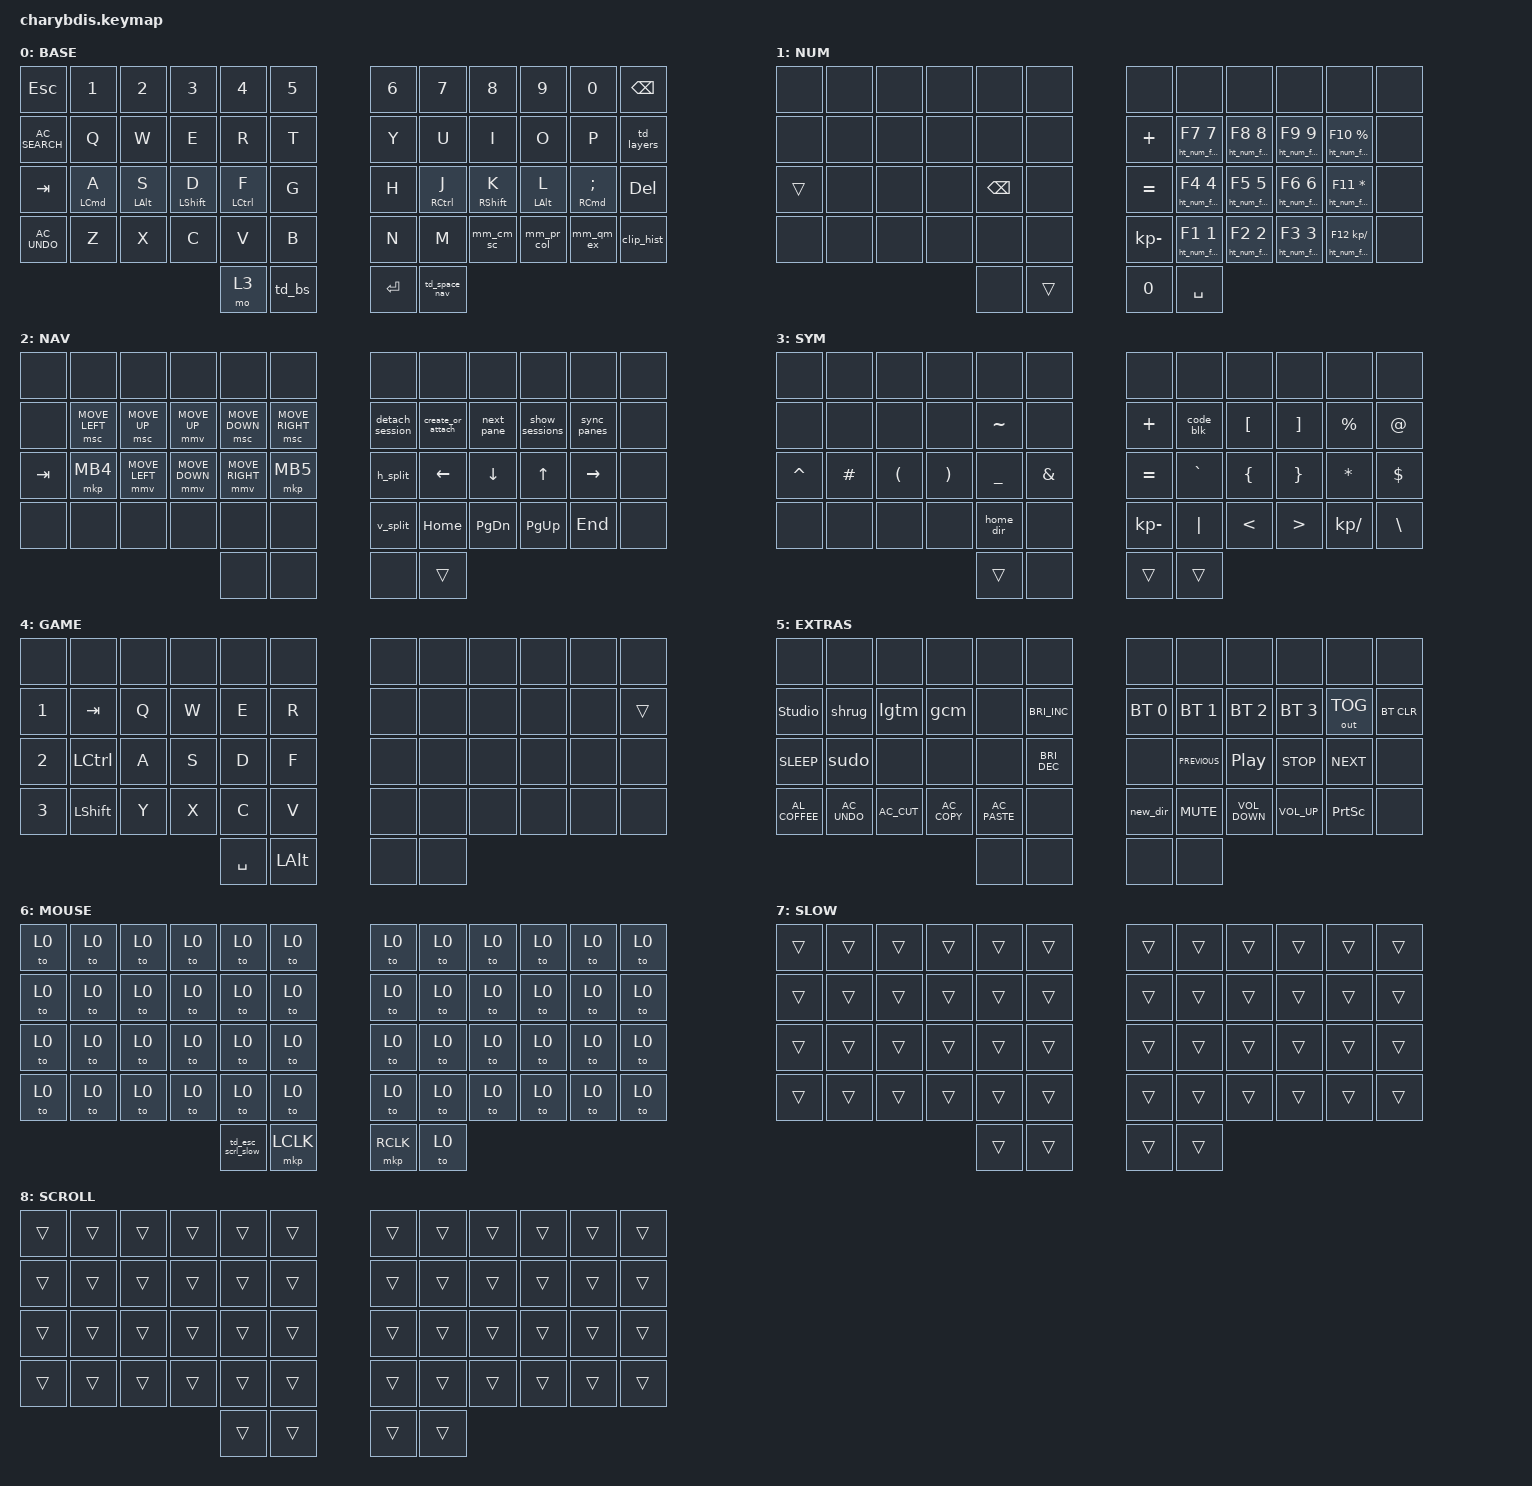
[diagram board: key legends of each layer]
/* upstream bindings and behaviors */
#include <behaviors.dtsi>
#include <dt-bindings/zmk/bt.h>
#include <dt-bindings/zmk/keys.h>
#include <dt-bindings/zmk/mouse.h>
#include <dt-bindings/zmk/outputs.h>
#include <behaviors/mouse_keys.dtsi>
#include <dt-bindings/zmk/ext_power.h>

/* local overlays */
#include "macros.dtsi"
#include "behaviors.dtsi"
#include "combos.dtsi"

/ {
/* --- KEYMAP CONFIG --- */"":53tregpoppp111qu
// ╭──────┬──────┬──────┬──────┬──────┬──────╮  ╭──────┬──────┬──────┬──────┬──────┬──────╮
//    00     01     02     03    04      05        06     07     08     09     10     11
// ├──────┼──────┼──────┼──────┼──────┼──────┤  ├──────┼──────┼──────┼──────┼──────┼──────┤
//    12     13     14     15    16      17        18     19     20     21     22     23
// ├──────┼──────┼──────┼──────┼──────┼──────┤  ├──────┼──────┼──────┼──────┼──────┼──────┤
//    24     25     26     27    28      29        30     31     32     33     34     35
// ╰──────┴──────┴──────┼──────┼──────┼──────┤  ├──────┼──────┼──────┴──────┴──────┴──────╯
//                         36     37     38        39     40
//                      ╰──────┴──────┴──────╯  ╰──────┴──────╯
// #define BASE    0
// #define NUM     1
// #define NAV     2
// #define SYM     3
// #define GAME    4
// #define EXTRAS  5
// #define MOUSE   6
// #define SLOW    7
// #define SCROLL  8

    keymap {
        compatible = "zmk,keymap";
        BASE {
            bindings = <
&kp ESC   &kp N1 &kp N2 &kp N3   &kp N4   &kp N5                     &kp N6 &kp N7   &kp N8    &kp N9  &kp N0   &kp BSPC
// ╭───────────────┬────────────────┬────────────────┬─────────────────┬─────────────────┬──────╮  ╭──────┬──────────────────┬──────────────────┬─────────────────┬────────────────────────┬───────────╮
    &kp C_AC_SEARCH &kp Q            &kp W            &kp E             &kp R             &kp T     &kp Y  &kp U              &kp I              &kp O             &kp P                     &td_layers
// ├───────────────┼────────────────┼────────────────┼─────────────────┼─────────────────┼──────┤  ├──────┼──────────────────┼──────────────────┼─────────────────┼────────────────────────┼───────────┤
    &kp TAB         &ht_left LCMD A  &ht_left LALT S  &ht_left LSHFT D  &ht_left LCTRL F  &kp G     &kp H  &ht_right RCTRL J  &ht_right RSHFT K  &ht_right LALT L  &ht_right RCMD SEMICOLON  &kp DEL
// ├───────────────┼────────────────┼────────────────┼─────────────────┼─────────────────┼──────┤  ├──────┼──────────────────┼──────────────────┼─────────────────┼────────────────────────┼───────────┤
    &kp C_AC_UNDO   &kp Z            &kp X            &kp C             &kp V             &kp B     &kp N  &kp M              &mm_cm_sc          &mm_pr_col        &mm_qm_ex                 &clip_hist
// ╰───────────────┴────────────────┴────────────────┼─────────────────┼─────────────────┼──────┤  ├──────┼──────────────────┼──────────────────┴─────────────────┴────────────────────────┴───────────╯
                                                                                    &mo 3  &td_bs     &kp ENTER  &td_space_nav
                                                            // ╰──────────────────┴──────┴──────╯  ╰──────────┴──────────────╯
            >;
        };

        NUM {
            bindings = <
            &none   &none  &none  &none  &none  &none  &none  &none  &none  &none  &none  &none
&none   &none  &none  &none  &none          &none            &kp PLUS      &ht_num_func F7 N7  &ht_num_func F8 N8  &ht_num_func F9 N9  &ht_num_func F10 PRCNT     &none
&trans   &none  &none  &none  &kp BACKSPACE  &none            &kp EQUAL     &ht_num_func F4 N4  &ht_num_func F5 N5  &ht_num_func F6 N6  &ht_num_func F11 ASTRK     &none
&none    &none  &none  &none  &none          &none            &kp KP_MINUS  &ht_num_func F1 N1  &ht_num_func F2 N2  &ht_num_func F3 N3  &ht_num_func F12 KP_SLASH  &none
                              &none          &trans           &kp N0     &kp SPACE
            >;
        };

        NAV {
            bindings = <
            &none   &none  &none  &none  &none  &none  &none  &none  &none  &none  &none  &none
&none    &msc MOVE_LEFT  &msc MOVE_UP    &mmv MOVE_UP    &msc MOVE_DOWN   &msc MOVE_RIGHT     &detach_session  &create_or_attach  &next_pane   &show_sessions  &sync_panes       &none
&kp TAB  &mkp MB4        &mmv MOVE_LEFT  &mmv MOVE_DOWN  &mmv MOVE_RIGHT  &mkp MB5            &h_split         &kp LEFT_ARROW     &kp DOWN     &kp UP          &kp RIGHT_ARROW   &none
&none    &none           &none           &none           &none            &none               &v_split         &kp HOME           &kp PG_DN    &kp PG_UP       &kp END           &none
                                                                          &none   &none           &none   &trans
            >;
        };

        SYM {
            bindings = <
            &none   &none  &none  &none  &none  &none  &none  &none  &none  &none  &none  &none
&none      &none     &none     &none     &kp TILDE   &none         &kp PLUS     &code_blk  &kp LBKT  &kp RBKT  &kp PRCNT    &kp AT
&kp CARET  &kp HASH  &kp LPAR  &kp RPAR  &kp UNDER   &kp AMPS      &kp EQUAL    &kp GRAVE  &kp LBRC  &kp RBRC  &kp ASTRK    &kp DLLR
&none      &none     &none     &none     &home_dir   &none         &kp KP_MINUS &kp PIPE   &kp LT    &kp GT    &kp KP_SLASH &kp BSLH
                                              &trans  &none        &trans   &trans
            >;
        };

        GAME {
            bindings = <
            &none   &none  &none  &none  &none  &none  &none  &none  &none  &none  &none  &none
&kp N1  &kp TAB    &kp Q  &kp W   &kp E      &kp R           &none  &none  &none  &none  &none  &trans
&kp N2  &kp LCTRL  &kp A  &kp S   &kp D      &kp F           &none  &none  &none  &none  &none  &none
&kp N3  &kp LSHFT  &kp Y  &kp X   &kp C      &kp V           &none  &none  &none  &none  &none  &none
                                   &kp SPACE  &kp LEFT_ALT    &none  &none
            >;
        };

        EXTRAS {
            bindings = <
            &none   &none  &none  &none  &none  &none  &none  &none  &none  &none  &none  &none
&studio_unlock    &shrug          &lgtm           &gcm            &none           &kp C_BRIGHTNESS_INC    &bt BT_SEL 0  &bt BT_SEL 1    &bt BT_SEL 2       &bt BT_SEL 3  &out OUT_TOG         &bt BT_CLR
&kp C_SLEEP       &sudo           &none           &none           &none           &kp C_BRIGHTNESS_DEC    &none         &kp C_PREVIOUS  &kp C_PLAY_PAUSE   &kp C_STOP    &kp C_NEXT           &none
&kp C_AL_COFFEE   &kp C_AC_UNDO   &kp C_AC_CUT    &kp C_AC_COPY   &kp C_AC_PASTE  &none                   &new_dir      &kp K_MUTE      &kp C_VOLUME_DOWN  &kp C_VOLUME_UP   &kp PRINTSCREEN  &none
                                                                                          &none  &none    &none         &none
            >;
        };

        MOUSE {
            bindings = <
            &to 0    &to 0    &to 0    &to 0    &to 0    &to 0    &to 0    &to 0    &to 0    &to 0    &to 0    &to 0
&to 0    &to 0    &to 0    &to 0    &to 0    &to 0    &to 0    &to 0    &to 0    &to 0    &to 0    &to 0
&to 0    &to 0    &to 0    &to 0    &to 0    &to 0    &to 0    &to 0    &to 0    &to 0    &to 0    &to 0
&to 0    &to 0    &to 0    &to 0    &to 0    &to 0    &to 0    &to 0    &to 0    &to 0    &to 0    &to 0
                           &td_esc_scrl_slow   &mkp LCLK       &mkp RCLK    &to 0
            >;
        };

        SLOW {
            bindings = <
&trans    &trans    &trans    &trans    &trans    &trans    &trans    &trans    &trans    &trans    &trans    &trans
&trans    &trans    &trans    &trans    &trans    &trans    &trans    &trans    &trans    &trans    &trans    &trans
&trans    &trans    &trans    &trans    &trans    &trans    &trans    &trans    &trans    &trans    &trans    &trans
&trans    &trans    &trans    &trans    &trans    &trans    &trans    &trans    &trans    &trans    &trans    &trans
                                        &trans    &trans    &trans    &trans
            >;
        };

        SCROLL {
            bindings = <
&trans    &trans    &trans    &trans    &trans    &trans    &trans    &trans    &trans    &trans    &trans    &trans
&trans    &trans    &trans    &trans    &trans    &trans    &trans    &trans    &trans    &trans    &trans    &trans
&trans    &trans    &trans    &trans    &trans    &trans    &trans    &trans    &trans    &trans    &trans    &trans
&trans    &trans    &trans    &trans    &trans    &trans    &trans    &trans    &trans    &trans    &trans    &trans
                                        &trans    &trans    &trans    &trans
            >;
        };
    };
};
